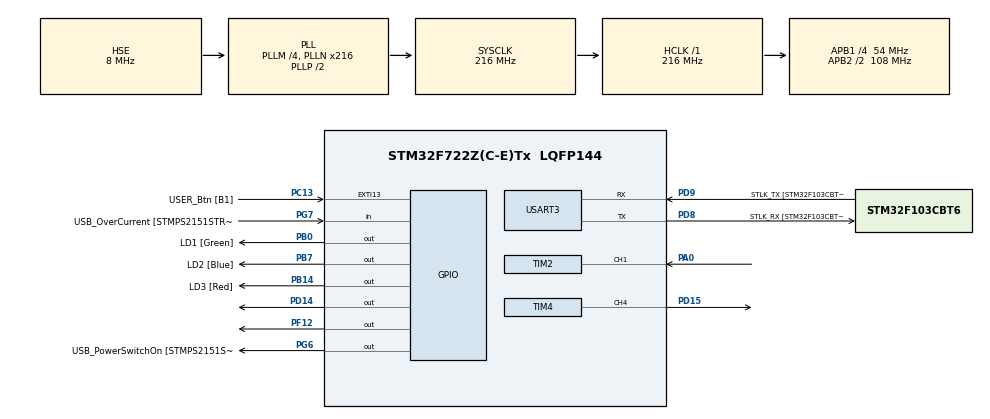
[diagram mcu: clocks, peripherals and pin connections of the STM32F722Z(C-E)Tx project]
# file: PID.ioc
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FREERTOS.BinarySemaphores01=DataSem,Dynamic,NULL
FREERTOS.INCLUDE_xQueueGetMutexHolder=1
FREERTOS.Tasks01=Data,0,128,SensorTask,Default,NULL,Dynamic,NULL,NULL;PID_Motor,0,128,PID_Task,Default,NULL,Dynamic,NULL,NULL;LabViewRX,0,128,LabViewRX_Task,Default,NULL,Dynamic,NULL,NULL;LabViewTX,0,128,LabViewTX_Task,Default,NULL,Dynamic,NULL,NULL
FREERTOS.Timers01=GetData,GetDataMotorDC,osTimerPeriodic,Default,NULL,Dynamic,NULL
FREERTOS.configENABLE_FPU=1
FREERTOS.configUSE_NEWLIB_REENTRANT=1
FREERTOS.configUSE_TIMERS=1
Mcu.Family=STM32F7
Mcu.Name=STM32F722Z(C-E)Tx
Mcu.Package=LQFP144
NVIC.PriorityGroup=NVIC_PRIORITYGROUP_4
NVIC.TIM6_DAC_IRQn=true\:15\:0\:false\:false\:true\:false\:false\:true\:true
NVIC.TimeBase=TIM6_DAC_IRQn
NVIC.TimeBaseIP=TIM6
NVIC.USART3_IRQn=true\:5\:0\:false\:false\:true\:true\:true\:true\:true
PA0-WKUP.Signal=S_TIM2_CH1_ETR
PA10.GPIO_Label=USB_ID
PA10.Signal=USB_OTG_FS_ID
PA11.GPIO_Label=USB_DM
PA11.Signal=USB_OTG_FS_DM
PA12.GPIO_Label=USB_DP
PA12.Signal=USB_OTG_FS_DP
PA13.GPIO_Label=TMS
PA13.Mode=Serial_Wire
PA13.Signal=SYS_JTMS-SWDIO
PA14.GPIO_Label=TCK
PA14.Mode=Serial_Wire
PA14.Signal=SYS_JTCK-SWCLK
PA8.GPIO_Label=USB_SOF [TP1]
PA8.Signal=USB_OTG_FS_SOF
PA9.GPIO_Label=USB_VBUS
PA9.Signal=USB_OTG_FS_VBUS
PB0.GPIO_Label=LD1 [Green]
PB0.Signal=GPIO_Output
PB14.GPIO_Label=LD3 [Red]
PB14.Signal=GPIO_Output
PB3.GPIO_Label=SWO
PB3.Signal=SYS_JTDO-SWO
PB7.GPIO_Label=LD2 [Blue]
PB7.Signal=GPIO_Output
PC13.GPIO_Label=USER_Btn [B1]
PC13.Signal=GPXTI13
PC14-OSC32_IN.Mode=LSE-External-Oscillator
PC14-OSC32_IN.Signal=RCC_OSC32_IN
PC15-OSC32_OUT.Mode=LSE-External-Oscillator
PC15-OSC32_OUT.Signal=RCC_OSC32_OUT
PD14.GPIO_Speed=GPIO_SPEED_FREQ_VERY_HIGH
PD14.Signal=GPIO_Output
PD15.Signal=S_TIM4_CH4
PD8.GPIO_Label=STLK_RX [STM32F103CBT6_PA3]
PD8.Mode=Asynchronous
PD8.Signal=USART3_TX
PD9.GPIO_Label=STLK_TX [STM32F103CBT6_PA2]
PD9.Mode=Asynchronous
PD9.Signal=USART3_RX
PF12.Signal=GPIO_Output
PG6.GPIO_Label=USB_PowerSwitchOn [STMPS2151STR_EN]
PG6.Signal=GPIO_Output
PG7.GPIO_Label=USB_OverCurrent [STMPS2151STR_FAULT]
PG7.Signal=GPIO_Input
PH0-OSC_IN.GPIO_Label=MCO
PH0-OSC_IN.Mode=HSE-External-Clock-Source
PH0-OSC_IN.Signal=RCC_OSC_IN
PH1-OSC_OUT.Mode=HSE-External-Clock-Source
PH1-OSC_OUT.Signal=RCC_OSC_OUT
ProjectManager.HeapSize=0x200
ProjectManager.StackSize=0x400
ProjectManager.TargetToolchain=STM32CubeIDE
RCC.48MHZClocksFreq_Value=24000000
RCC.AHBFreq_Value=216000000
RCC.APB1CLKDivider=RCC_HCLK_DIV4
RCC.APB1Freq_Value=54000000
RCC.APB1TimFreq_Value=108000000
RCC.APB2CLKDivider=RCC_HCLK_DIV2
RCC.APB2Freq_Value=108000000
RCC.APB2TimFreq_Value=216000000
RCC.CortexFreq_Value=216000000
RCC.HCLKFreq_Value=216000000
RCC.HSE_VALUE=8000000
RCC.HSI_VALUE=16000000
RCC.PLLM=4
RCC.PLLMUL=RCC_PLL_MUL9
RCC.PLLN=216
RCC.PLLQ=9
RCC.PLLSourceVirtual=RCC_PLLSOURCE_HSE
RCC.PRESCALERUSB=RCC_USBCLKSOURCE_PLL_DIV1_5
RCC.SYSCLKFreq_VALUE=216000000
RCC.SYSCLKSource=RCC_SYSCLKSOURCE_PLLCLK
RCC.SYSCLKSourceVirtual=RCC_SYSCLKSOURCE_PLLCLK
RCC.USBFreq_Value=48000000
RCC.VCOOutputFreq_Value=432000000
SH.S_TIM2_CH1_ETR.0=TIM2_CH1,TriggerSource_TI1FP1
SH.S_TIM4_CH4.0=TIM4_CH4,PWM Generation4 CH4
TIM2.TIM_MasterOutputTrigger=TIM_TRGO_UPDATE
TIM4.Channel-PWM\ Generation4\ CH4=TIM_CHANNEL_4
TIM4.Period=40000-1
TIM4.Prescaler=3-1
USART3.VirtualMode-Asynchronous=VM_ASYNC
VP_FREERTOS_VS_CMSIS_V1.Mode=CMSIS_V1
VP_SYS_VS_tim6.Mode=TIM6
VP_TIM2_VS_ControllerModeClock.Mode=Clock Mode
board=NUCLEO-F722ZE

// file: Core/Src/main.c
/* USER CODE BEGIN Header */
/**
  ******************************************************************************
  * @file           : main.c
  * @brief          : Main program body
  ******************************************************************************
  * @attention
  *
  * Copyright (c) 2022 STMicroelectronics.
  * All rights reserved.
  *
  * This software is licensed under terms that can be found in the LICENSE file
  * in the root directory of this software component.
  * If no LICENSE file comes with this software, it is provided AS-IS.
  *
  ******************************************************************************
  */
/* USER CODE END Header */
#include "main.h"
#include "cmsis_os.h"
#include "tim.h"
#include "usart.h"
#include "gpio.h"

/* USER CODE BEGIN Includes */
#include "arm_math.h"
/* USER CODE END Includes */

/* USER CODE BEGIN PM */
/**
 * 0: Segger system view disable
 * 1: segger system view enable
 */
#define SVW			1

/* Choose PID parameters */

/* USER CODE END PM */

void SystemClock_Config(void);
void MX_FREERTOS_Init(void);

int main(void)
{

  /* MCU Configuration--------------------------------------------------------*/

  /* Reset of all peripherals, Initializes the Flash interface and the Systick. */
  HAL_Init();

  /* Configure the system clock */
  SystemClock_Config();

  /* Initialize all configured peripherals */
  MX_GPIO_Init();
  MX_USART3_UART_Init();
  MX_TIM2_Init();
  MX_TIM4_Init();
  /* USER CODE BEGIN 2 */
#if SVW
  DWT->CTRL |= 1;
  SEGGER_SYSVIEW_Conf();
  //SEGGER_SYSVIEW_Start();
#endif

  /* Initialize PID system, float32_t format */

  /* USER CODE END 2 */

  /* Call init function for freertos objects (in freertos.c) */
  MX_FREERTOS_Init();

  /* Start scheduler */
  osKernelStart();

  /* We should never get here as control is now taken by the scheduler */
  /* Infinite loop */
  while (1)
  {

  }
}

void SystemClock_Config(void)
{
  RCC_OscInitTypeDef RCC_OscInitStruct = {0};
  RCC_ClkInitTypeDef RCC_ClkInitStruct = {0};

  /** Configure LSE Drive Capability
  */
  HAL_PWR_EnableBkUpAccess();

  /** Configure the main internal regulator output voltage
  */
  __HAL_RCC_PWR_CLK_ENABLE();
  __HAL_PWR_VOLTAGESCALING_CONFIG(PWR_REGULATOR_VOLTAGE_SCALE1);

  /** Initializes the RCC Oscillators according to the specified parameters
  * in the RCC_OscInitTypeDef structure.
  */
  RCC_OscInitStruct.OscillatorType = RCC_OSCILLATORTYPE_HSE;
  RCC_OscInitStruct.HSEState = RCC_HSE_BYPASS;
  RCC_OscInitStruct.PLL.PLLState = RCC_PLL_ON;
  RCC_OscInitStruct.PLL.PLLSource = RCC_PLLSOURCE_HSE;
  RCC_OscInitStruct.PLL.PLLM = 4;
  RCC_OscInitStruct.PLL.PLLN = 216;
  RCC_OscInitStruct.PLL.PLLP = RCC_PLLP_DIV2;
  RCC_OscInitStruct.PLL.PLLQ = 9;
  if (HAL_RCC_OscConfig(&RCC_OscInitStruct) != HAL_OK)
  {
    Error_Handler();
  }

  /** Activate the Over-Drive mode
  */
  if (HAL_PWREx_EnableOverDrive() != HAL_OK)
  {
    Error_Handler();
  }

  /** Initializes the CPU, AHB and APB buses clocks
  */
  RCC_ClkInitStruct.ClockType = RCC_CLOCKTYPE_HCLK|RCC_CLOCKTYPE_SYSCLK
                              |RCC_CLOCKTYPE_PCLK1|RCC_CLOCKTYPE_PCLK2;
  RCC_ClkInitStruct.SYSCLKSource = RCC_SYSCLKSOURCE_PLLCLK;
  RCC_ClkInitStruct.AHBCLKDivider = RCC_SYSCLK_DIV1;
  RCC_ClkInitStruct.APB1CLKDivider = RCC_HCLK_DIV4;
  RCC_ClkInitStruct.APB2CLKDivider = RCC_HCLK_DIV2;

  if (HAL_RCC_ClockConfig(&RCC_ClkInitStruct, FLASH_LATENCY_7) != HAL_OK)
  {
    Error_Handler();
  }
}

void HAL_TIM_PeriodElapsedCallback(TIM_HandleTypeDef *htim)
{
  if (htim->Instance == TIM6) {
    HAL_IncTick();
  }
}

void Error_Handler(void)
{
  __disable_irq();
  while (1)
  {
  }
}

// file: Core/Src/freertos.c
/* USER CODE BEGIN Header */
/**
  ******************************************************************************
  * File Name          : freertos.c
  * Description        : Code for freertos applications
  ******************************************************************************
  * @attention
  *
  * Copyright (c) 2022 STMicroelectronics.
  * All rights reserved.
  *
  * This software is licensed under terms that can be found in the LICENSE file
  * in the root directory of this software component.
  * If no LICENSE file comes with this software, it is provided AS-IS.
  *
  ******************************************************************************
  */
/* USER CODE END Header */

#include "FreeRTOS.h"
#include "task.h"
#include "main.h"
#include "cmsis_os.h"

/* USER CODE BEGIN Includes */
#include "arm_math.h"
#include "gpio.h"
#include "usart.h"
#include "tim.h"
#include <stdlib.h>
#include <string.h>
#include <stdio.h>

#include "PID.h"
/* USER CODE END Includes */

/* USER CODE BEGIN PM */
#define PID_PARAM_KP		0.0121			/* Proporcional */
#define PID_PARAM_KI		0.39		/* Integral */
#define PID_PARAM_KD		8.95E-4			/* Derivative */
#define UC_MAX				8.4			/* max voltaje */
#define UC_MIN				0			/* Min voltaje */

#define S					120				//cantidad de pulsos por vuelta
#define Ts					20E-3			//tiempo de muestreo

#define KP	0.0452
#define KI	1.1202
#define KD  0.00046
#define UMIN 	0
#define UMAX	8.6
/* USER CODE END PM */

/* USER CODE BEGIN Variables */
uint8_t byte;
arm_pid_instance_f32 PID;

PID_Def_t MotorDC;

QueueHandle_t RxQueue;
QueueHandle_t radsQueue;
QueueHandle_t RefQueue;
/* USER CODE END Variables */
osThreadId DataHandle;
osThreadId PID_MotorHandle;
osThreadId LabViewRXHandle;
osTimerId GetDataHandle;
osSemaphoreId DataSemHandle;

void SensorTask(void const * argument);
void PID_Task(void const * argument);
void LabViewRX_Task(void const * argument);
void GetDataMotorDC(void const * argument);

void MX_FREERTOS_Init(void); /* (MISRA C 2004 rule 8.1) */

/* GetIdleTaskMemory prototype (linked to static allocation support) */
void vApplicationGetIdleTaskMemory( StaticTask_t **ppxIdleTaskTCBBuffer, StackType_t **ppxIdleTaskStackBuffer, uint32_t *pulIdleTaskStackSize );

/* GetTimerTaskMemory prototype (linked to static allocation support) */
void vApplicationGetTimerTaskMemory( StaticTask_t **ppxTimerTaskTCBBuffer, StackType_t **ppxTimerTaskStackBuffer, uint32_t *pulTimerTaskStackSize );

/* USER CODE BEGIN GET_IDLE_TASK_MEMORY */
static StaticTask_t xIdleTaskTCBBuffer;
static StackType_t xIdleStack[configMINIMAL_STACK_SIZE];

void vApplicationGetIdleTaskMemory( StaticTask_t **ppxIdleTaskTCBBuffer, StackType_t **ppxIdleTaskStackBuffer, uint32_t *pulIdleTaskStackSize )
{
  *ppxIdleTaskTCBBuffer = &xIdleTaskTCBBuffer;
  *ppxIdleTaskStackBuffer = &xIdleStack[0];
  *pulIdleTaskStackSize = configMINIMAL_STACK_SIZE;
  /* place for user code */
}
/* USER CODE END GET_IDLE_TASK_MEMORY */

/* USER CODE BEGIN GET_TIMER_TASK_MEMORY */
static StaticTask_t xTimerTaskTCBBuffer;
static StackType_t xTimerStack[configTIMER_TASK_STACK_DEPTH];

void vApplicationGetTimerTaskMemory( StaticTask_t **ppxTimerTaskTCBBuffer, StackType_t **ppxTimerTaskStackBuffer, uint32_t *pulTimerTaskStackSize )
{
  *ppxTimerTaskTCBBuffer = &xTimerTaskTCBBuffer;
  *ppxTimerTaskStackBuffer = &xTimerStack[0];
  *pulTimerTaskStackSize = configTIMER_TASK_STACK_DEPTH;
  /* place for user code */
}
/* USER CODE END GET_TIMER_TASK_MEMORY */

void MX_FREERTOS_Init(void) {

  /* Create the semaphores(s) */
  /* definition and creation of DataSem */
  osSemaphoreDef(DataSem);
  DataSemHandle = osSemaphoreCreate(osSemaphore(DataSem), 1);

  /* Create the timer(s) */
  /* definition and creation of GetData */
  osTimerDef(GetData, GetDataMotorDC);
  GetDataHandle = osTimerCreate(osTimer(GetData), osTimerPeriodic, NULL);

  /* USER CODE BEGIN RTOS_QUEUES */
  /* add queues, ... */
  RxQueue = xQueueCreate(10,sizeof(uint8_t));				//queue rx data
  configASSERT(RxQueue != NULL);

  radsQueue = xQueueCreate(2,sizeof(float32_t));			//rads calculados
  configASSERT(radsQueue != NULL);

  RefQueue = xQueueCreate(16,sizeof(float32_t));				//referencia leida
  configASSERT(RefQueue != NULL);
  /* USER CODE END RTOS_QUEUES */

  /* Create the thread(s) */
  /* definition and creation of Data */
  osThreadDef(Data, SensorTask, osPriorityAboveNormal, 0, 2048);
  DataHandle = osThreadCreate(osThread(Data), NULL);

  /* definition and creation of PID_Motor */
  osThreadDef(PID_Motor, PID_Task, osPriorityNormal, 0, 128);
  PID_MotorHandle = osThreadCreate(osThread(PID_Motor), NULL);

  /* definition and creation of LabViewRX */
  osThreadDef(LabViewRX, LabViewRX_Task, osPriorityAboveNormal, 0, 128);
  LabViewRXHandle = osThreadCreate(osThread(LabViewRX), NULL);

  /* definition and creation of LabViewTX */

  /* USER CODE BEGIN RTOS_THREADS */
  /* add threads, ... */
  HAL_UART_Receive_IT(&huart3, &byte, 1);
  /* USER CODE END RTOS_THREADS */

}

void SensorTask(void const * argument)
{
  /* USER CODE BEGIN SensorTask */
	uint16_t pulses;
	float32_t rads;
	float32_t rpm;
	uint8_t buffer[20];
  /* Infinite loop */
  for(;;)
  {
	  /*wait semaphore */
	  osSemaphoreWait(DataSemHandle, osWaitForever);
	  /* get data from motor dc */
	  taskENTER_CRITICAL();
	  pulses = __HAL_TIM_GET_COUNTER(&htim2);
	  __HAL_TIM_SET_COUNTER(&htim2,0);
	  /* calc rpm and rads */
	  rpm = pulses * 60.0 /(Ts * S);
	  rads = rpm * (2 * PI ) / 60;
	  /* send rads to pid task */
	  xQueueSend(radsQueue,&rads,100);

	  /*send data to labview*/
	  sprintf((char*)buffer, "%.2f\r\n",rads);
	  HAL_UART_Transmit(&huart3,buffer,strlen((char*)buffer),5);
	  taskEXIT_CRITICAL();
  }
  /* USER CODE END SensorTask */
}

void PID_Task(void const * argument)
{
  /* USER CODE BEGIN PID_Task */
	float32_t ref = 0;
	float32_t _ref = ref;
	float32_t rads;
	//float32_t pid_error;
	float32_t uc;
	uint16_t duty;

//	PID.Kp = PID_PARAM_KP;		/* Proporcional */
//	PID.Ki = PID_PARAM_KI;		/* Integral */
//	PID.Kd = PID_PARAM_KD;		/* Derivative */
	//arm_pid_init_f32(&PID, 1);
	PID_Init(&MotorDC, KP, KI, KD, Ts, UMIN, UMAX);
  /* Infinite loop */
  for(;;)
  {
	  if(xQueueReceive(RefQueue, &ref, 0) == pdPASS)		//se lee la referencia en caso se cambió
		  _ref = ref;
	  xQueueReceive(radsQueue, &rads, portMAX_DELAY);
	  /*pid calc*/
	  taskENTER_CRITICAL();
	  /* calc error*/
	  //pid_error = ref - rads;
	  /* calc pid */
	  uc = PID_Compute(&MotorDC, _ref, rads);
	  /* anti wind up */
	  /* calc duty */
	  duty = (uint16_t) ( uc * htim4.Instance->ARR / UC_MAX);
	  /* set duty*/
	  __HAL_TIM_SET_COMPARE(&htim4,TIM_CHANNEL_4,duty);
	  taskEXIT_CRITICAL();
  }
  /* USER CODE END PID_Task */
}

void LabViewRX_Task(void const * argument)
{
  /* USER CODE BEGIN LabViewRX_Task */
	uint8_t data[20];
	uint8_t _byte;
	uint8_t i = 0;
	float32_t ref;
  /* Infinite loop */

	osThreadSuspend(PID_MotorHandle);
	osThreadSuspend(DataHandle);
	osTimerStop(GetDataHandle);
  for(;;)
  {
    xQueueReceive(RxQueue, &_byte, portMAX_DELAY);

    taskENTER_CRITICAL();
    if((_byte != 'x') && (_byte != 'c')){
    	data[i] = _byte;
    	i++;
    }
    else if(_byte == 'c'){

    	if(data[0] == '1'){

    		xQueueReset(RxQueue);
    		HAL_TIM_Base_Start(&htim2);						//Lecutura de pulsos del encoder
    		__HAL_TIM_SET_COUNTER(&htim2,0);
    		HAL_TIM_PWM_Start(&htim4, TIM_CHANNEL_4);		//se inicia el PWM
    		__HAL_TIM_SET_COMPARE(&htim4,TIM_CHANNEL_4,0);
    		/*start task and timer*/
    		osThreadResume(PID_MotorHandle);
    		osThreadResume(DataHandle);
    		osTimerStart(GetDataHandle, 20);				//inicia el muestreo del dato

    	}else{
    		HAL_TIM_Base_Stop(&htim2);
    		HAL_TIM_PWM_Stop(&htim4, TIM_CHANNEL_4);
    		/* suspend task and stop software timer */
    		osThreadSuspend(PID_MotorHandle);
    		osThreadSuspend(DataHandle);
    		osTimerStop(GetDataHandle);
    	}
    	/*reset buffer*/
		memset(data,0,i);
		i = 0;
    }
    else{
    	xQueueReset(RxQueue);
    	data[i] = '\0';										//caracter de terminacion para la cadena
    	ref = atof((char*)data);							//se obtiene el valor numerico
    	memset(data,0,i);
    	i = 0;
    	/*se verifica el espacio disponible*/
    	if(uxQueueSpacesAvailable(RxQueue) == 0)
    		xQueueReset(RxQueue);							//reset queue
    	/*se envia el queue hacia pid task*/
    	xQueueSend(RefQueue,&ref,20);
    }
    taskEXIT_CRITICAL();
  }
  /* USER CODE END LabViewRX_Task */
}

/* GetDataMotorDC function */
void GetDataMotorDC(void const * argument)
{
  /* USER CODE BEGIN GetDataMotorDC */
	osSemaphoreRelease(DataSemHandle);
  /* USER CODE END GetDataMotorDC */
}

/* USER CODE BEGIN Application */
void HAL_UART_RxCpltCallback(UART_HandleTypeDef *huart)
{
	xQueueSendFromISR(RxQueue,&byte,pdFALSE);		//se envia el byte recibido

	HAL_UART_Receive_IT(huart, &byte, 1);

	return;
}
/* USER CODE END Application */
